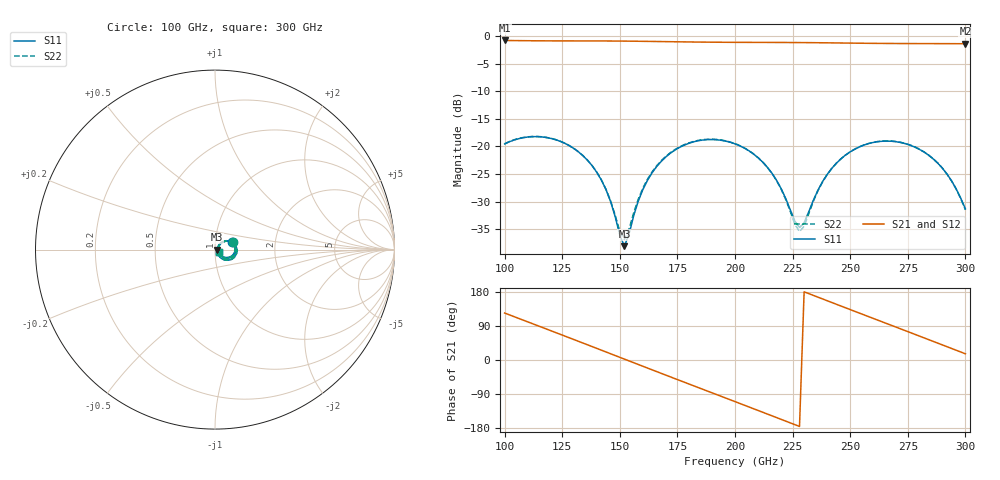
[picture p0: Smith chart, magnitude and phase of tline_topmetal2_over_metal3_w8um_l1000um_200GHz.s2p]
#  GHZ S DB R 50
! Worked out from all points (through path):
!   101 points, 100 GHz to 300 GHz, reference 50 ohm
!   highest |S21| = -0.81 dB at 100 GHz (marker M1); lowest = -1.4 dB at 300 GHz (marker M2)
!   group delay of S21, straight-line fit = 6.5 ps
!   lowest |S11| = -38.1 dB at 152 GHz (marker M3), VSWR 1.03, Z = 51.3 - j0.0479 ohm
!   |S11| at or under -10 dB: start of sweep to end of sweep
!   |S22| runs from -36.9 to -18.2 dB; largest |S21 - S12| = 1.5e-13
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100  -19.57 23.3  -0.81 124.0  -0.81 124.0  -19.52 22.2
108  -18.43 7.0  -0.85 105.4  -0.85 105.4  -18.40 6.2
116  -18.28 -9.5  -0.88 86.8  -0.88 86.8  -18.26 -10.1
124  -19.06 -25.8  -0.89 68.2  -0.89 68.2  -19.04 -26.3
134  -21.69 -45.1  -0.89 44.8  -0.89 44.8  -21.67 -45.2
144  -27.83 -58.0  -0.90 21.2  -0.90 21.2  -27.77 -56.7
152  -38.08 -2.1  -0.93 2.4  -0.93 2.4  -36.90 -1.7
160  -27.82 50.9  -0.96 -16.5  -0.96 -16.5  -27.58 47.6
168  -22.70 41.6  -1.01 -35.3  -1.01 -35.3  -22.59 39.0
184  -18.99 11.2  -1.10 -72.6  -1.10 -72.6  -18.92 9.0
200  -19.54 -20.1  -1.15 -109.8  -1.15 -109.8  -19.50 -22.5
216  -24.85 -45.1  -1.17 -147.2  -1.17 -147.2  -24.87 -48.3
228  -34.69 -2.1  -1.19 -175.4  -1.19 -175.4  -35.45 -4.1
234  -29.76 42.8  -1.21 170.5  -1.21 170.5  -29.96 43.5
240  -25.09 45.1  -1.24 156.4  -1.24 156.4  -25.12 44.9
248  -21.57 34.6  -1.28 137.7  -1.28 137.7  -21.56 33.8
258  -19.49 16.6  -1.32 114.4  -1.32 114.4  -19.47 15.3
268  -19.07 -2.6  -1.36 91.2  -1.36 91.2  -19.04 -4.2
276  -19.78 -17.8  -1.37 72.5  -1.37 72.5  -19.75 -19.7
286  -22.25 -34.8  -1.38 49.2  -1.38 49.2  -22.23 -37.1
294  -26.24 -42.7  -1.39 30.4  -1.39 30.4  -26.26 -45.7
300  -31.31 -33.1  -1.41 16.4  -1.41 16.4  -31.49 -36.8
